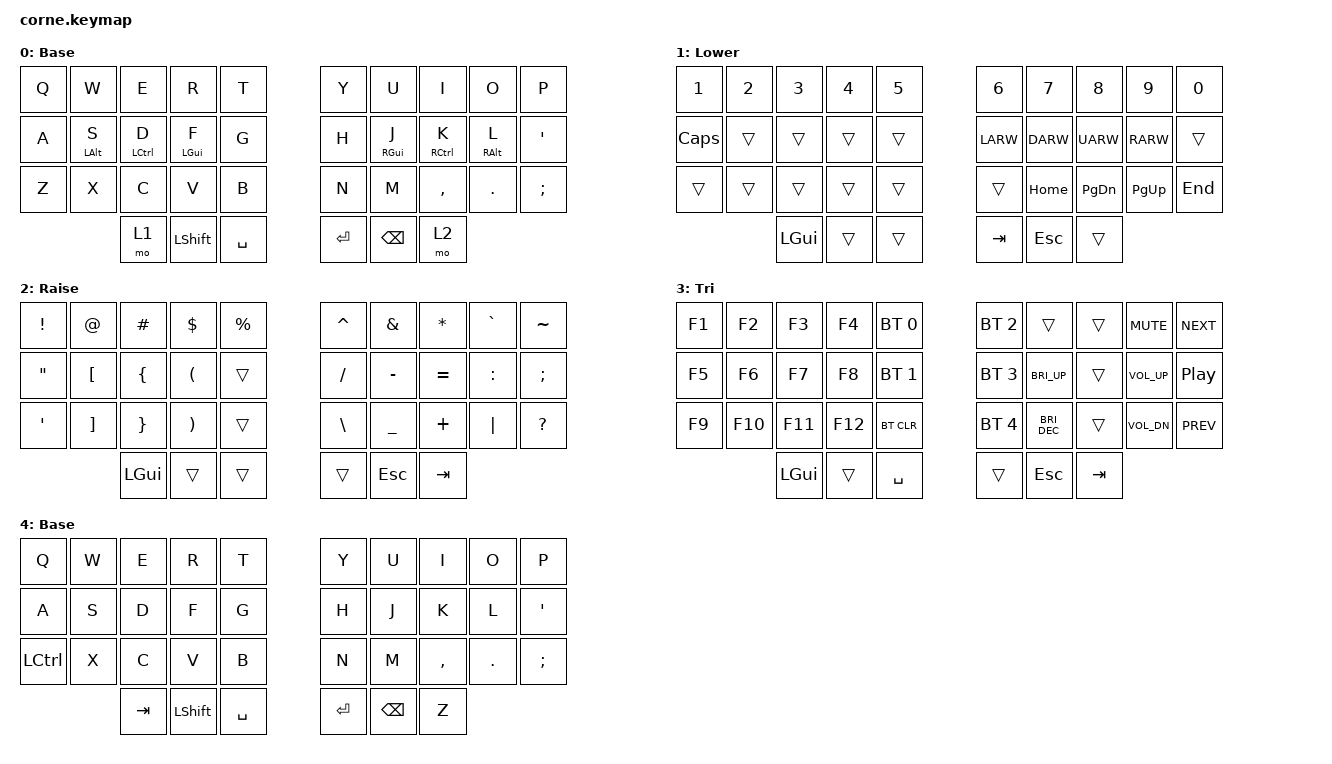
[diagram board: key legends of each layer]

/*
 * Copyright (c) 2020 The ZMK Contributors
 *
 * SPDX-License-Identifier: MIT
 */

#include <behaviors.dtsi>
#include <dt-bindings/zmk/keys.h>
#include <dt-bindings/zmk/bt.h>

/ {
  chosen {
    zmk,matrix_transform = &five_column_transform;
  };
};


/ {
    
    behaviors {
       ht: hold_tap {
            label = "hold_tap";
            compatible = "zmk,behavior-hold-tap";
            #binding-cells = <2>;
            flavor = "tap-preferred";
            tapping-term-ms = <220>;
            quick-tap-ms = <150>;
            global-quick-tap;
            bindings = <&kp>, <&kp>;
        };
    };

    conditional_layers {
        compatible = "zmk,conditional-layers";
        tri_layer {
            if-layers = <1 2>;
            then-layer = <3>;
        };
    };

    combos {
      compatible="zmk,combos";
      // go to gaming layer when pressing corner keys
      combo_gaming {
        timeout-ms = <50>;
        key-positions = <0 9 20 29>;
        bindings = <&to 4>;
        layers = <0>;
      };
     // go to default layer when pressing corner keys
      combo_default {
         timeout-ms = <50>;
         key-positions = <0 9 20 29>;
         bindings = <&to 0>;
         layers = <4>;
      };
    };

    keymap {
        compatible = "zmk,keymap";
        default_layer {
        // -----------------------------------------------------------------------------------------
        // |  Q  |  W  |  E  |  R  |  T  |     |  Y  |  U   |  I   |  O   | P |
        // |  A  |  S  |  D  |  F  |  G  |     |  H  |  J   |  K   |  L   | ' | Left/Right Home Row Mods
        // |  Z  |  X  |  C  |  V  |  B  |     |  N  |  M   |  ,   |  .   | ; |
        //             | LWR | SHFT| SPC |     | ENT | BKSPC| RSE |
                        display-name = "Base";
                        bindings = <
                         &kp Q &kp W &kp E &kp R &kp T     &kp Y   &kp U  &kp I     &kp O     &kp P 
                         &kp A &ht LALT S &ht LCTRL D  &ht LGUI F  &kp G     &kp H   &ht RGUI J  &ht RCTRL K &ht RALT L &kp SQT 
                         &kp Z &kp X &kp C &kp V &kp B     &kp N   &kp M  &kp COMMA &kp DOT    &kp SEMI 
                            &mo 1 &kp LSHIFT &kp SPACE     &kp RET &kp BSPC &mo 2
                        >;
          };

        lower_layer {
        // -----------------------------------------------------------------------------------------
        // |    1     | 2 |  3  |  4  |  5  |     |  6  |  7  |  8  |  9  |  0   |
        // | CAPSLOCK |   |     |     |     |     |LEFT |DOWN |  UP |RIGHT|      |
        // |          |   |     |     |     |     |     |HOME |PAGED|PAGEU|END   |
        //                | CMD | SHFT|     |     | TAB | ESC |     |
                       display-name = "Lower";
                       bindings = <
                        &kp N1       &kp N2       &kp N3       &kp N4       &kp N5           &kp N6    &kp N7    &kp N8      &kp N9    &kp N0
                        &kp CAPS     &trans       &trans       &trans       &trans           &kp LARW  &kp DARW  &kp UARW    &kp RARW  &trans
                        &trans       &trans       &trans       &trans       &trans           &trans    &kp HOME  &kp PG_DN   &kp PG_UP &kp END
                                                  &kp LGUI     &trans       &trans           &kp TAB   &kp ESC   &trans
                        >;
        };

        raise_layer {
        // -----------------------------------------------------------------------------------------
        // | !     |  @  |  #  |  $  |  %  |     |  ^  |  &  |  *  |  `  |  ~  |
        // | "     |  [  |  {  |  (  |     |     |  /  |  -  |  =  |  :  |  ;  |
        // | '     |  ]  |  }  |  )  |     |     |  \  |  _  |  +  |  |  |  ?  |
        //               |     |     | SPC |     | ENT | ESC | TAB |
                display-name = "Raise";
                bindings = <

                 &kp EXCL  &kp AT    &kp HASH  &kp DLLR  &kp PRCNT     &kp CARET &kp AMPS  &kp ASTRK &kp GRAVE &kp TILDE
                 &kp DQT   &kp LBKT  &kp LBRC  &kp LPAR  &trans        &kp FSLH  &kp MINUS &kp EQUAL &kp COLON &kp SEMI
                 &kp SQT   &kp RBKT  &kp RBRC  &kp RPAR  &trans        &kp BSLH  &kp UNDER &kp PLUS  &kp PIPE &kp QMARK
                      &kp LGUI   &trans     &trans        &trans   &kp ESC   &kp TAB
                >;
        };

       tri_layer {
       // -----------------------------------------------------------------------------------------
       // | F1    |  F2 |  F3 |  F4 |PROF 0|     |PROF 2|             |     |  VOL MUTE  |  NEXT SONG  |
       // | F5    |  F6 | F7  |  F8 |PROF 1 |    |PROF 3| INC BRIGHT  |     |  VOL UP    | PAUSE MUSIC  |
       // | F9    | F10 | F11 |  F12|CLEARBT|    |PROF 4|  DEC BRIGHT |     |  VOL DOWN  |  PREV SONG   |
       //               |     |     | SPC  |     | ENT | ESC | TAB |
                 display-name="Tri";
                 bindings = <
                  &kp F1     &kp F2     &kp F3     &kp F4     &bt BT_SEL 0     &bt BT_SEL 2  &trans &trans &kp C_MUTE  &kp C_NEXT
                  &kp F5     &kp F6     &kp F7     &kp F8     &bt BT_SEL 1     &bt BT_SEL 3  &kp C_BRI_UP  &trans   &kp C_VOL_UP  &kp C_PP
                  &kp F9     &kp F10    &kp F11    &kp F12    &bt BT_CLR       &bt BT_SEL 4  &kp C_BRI_DEC  &trans   &kp C_VOL_DN &kp C_PREV
                       &kp LGUI        &trans        &kp SPACE        &trans   &kp ESC   &kp TAB
                 >;
        };
       gaming_layer {
        // -----------------------------------------------------------------------------------------
        // |  Q  |  W  |  E  |  R  |  T  |     |  Y  |  U   |  I   |  O   | P |
        // |  A  |  S  |  D  |  F  |  G  |     |  H  |  J   |  K   |  L   | ' | 
        // |CTRL |  X  |  C  |  V  |  B  |     |  N  |  M   |  ,   |  .   | ; |
        //             | TAB | SHFT| SPC |     | ENT | BKSPC| Z    |
                        display-name = "Base";
                        bindings = <
                         &kp Q &kp W &kp E &kp R &kp T     &kp Y   &kp U  &kp I     &kp O     &kp P 
                         &kp A &kp S &kp D &kp F &kp G     &kp H   &kp J  &kp K     &kp L     &kp SQT 
                         &kp LCTRL &kp X &kp C &kp V &kp B     &kp N   &kp M  &kp COMMA &kp DOT    &kp SEMI 
                            &kp TAB &kp LSHIFT &kp SPACE     &kp RET &kp BSPC &kp Z
                        >;
          };

    };

};

